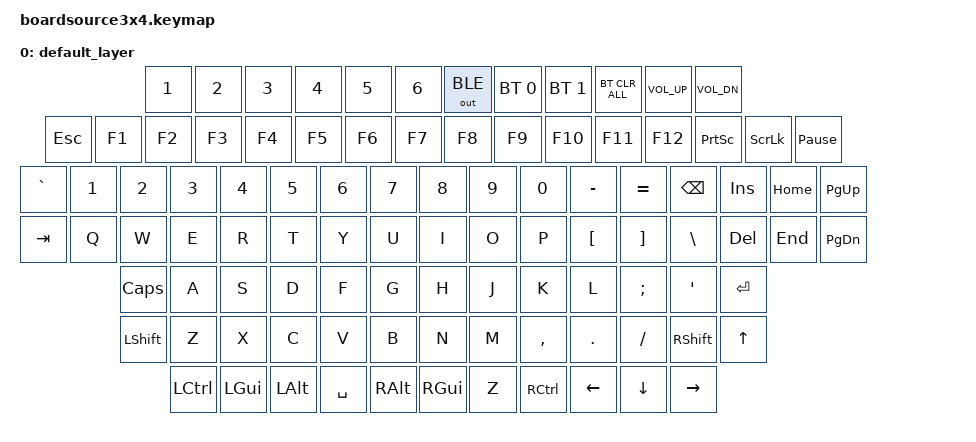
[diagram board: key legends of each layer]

#include <behaviors.dtsi>
#include <dt-bindings/zmk/keys.h>
#include <dt-bindings/zmk/bt.h>

#include <dt-bindings/zmk/outputs.h>
#include <dt-bindings/zmk/ext_power.h>

#include <dt-bindings/zmk/rgb.h>

/ {  
    keymap {
        compatible = "zmk,keymap";

        default_layer {
            bindings = <
&kp N1  &kp N2  &kp N3  &kp N4  &kp N5        &kp N6  &out OUT_BLE  &bt BT_SEL 0  &bt BT_SEL 1  &bt BT_CLR_ALL                        &kp C_VOL_UP       &kp C_VOL_DN

&kp ESC       &kp F1 &kp F2 &kp F3 &kp F4     &kp F5 &kp F6 &kp F7 &kp F8     &kp F9 &kp F10 &kp F11 &kp F12                  &kp PSCRN &kp SLCK &kp PAUSE_BREAK

&kp GRAVE &kp N1  &kp N2  &kp N3  &kp N4  &kp N5  &kp N6  &kp N7  &kp N8  &kp N9  &kp N0    &kp MINUS &kp EQUAL &kp BSPC      &kp INS  &kp HOME  &kp PG_UP              
&kp TAB     &kp Q  &kp W  &kp E  &kp R  &kp T  &kp Y  &kp U  &kp I  &kp O  &kp P  &kp LBKT &kp RBKT             &kp BSLH      &kp DEL  &kp END   &kp PG_DN
&kp CAPS      &kp A  &kp S  &kp D  &kp F  &kp G  &kp H  &kp J  &kp K  &kp L  &kp SEMI    &kp SQT                &kp RET                                         
&kp LSHIFT       &kp Z  &kp X  &kp C  &kp V  &kp B  &kp N  &kp M  &kp COMMA &kp DOT &kp FSLH                    &kp RSHIFT             &kp UP            
&kp LCTRL  &kp LGUI  &kp LALT               &kp SPACE                  &kp RALT &kp RGUI &kp Z                  &kp RCTRL     &kp LEFT &kp DOWN &kp RIGHT
            >;
        };
    };
};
